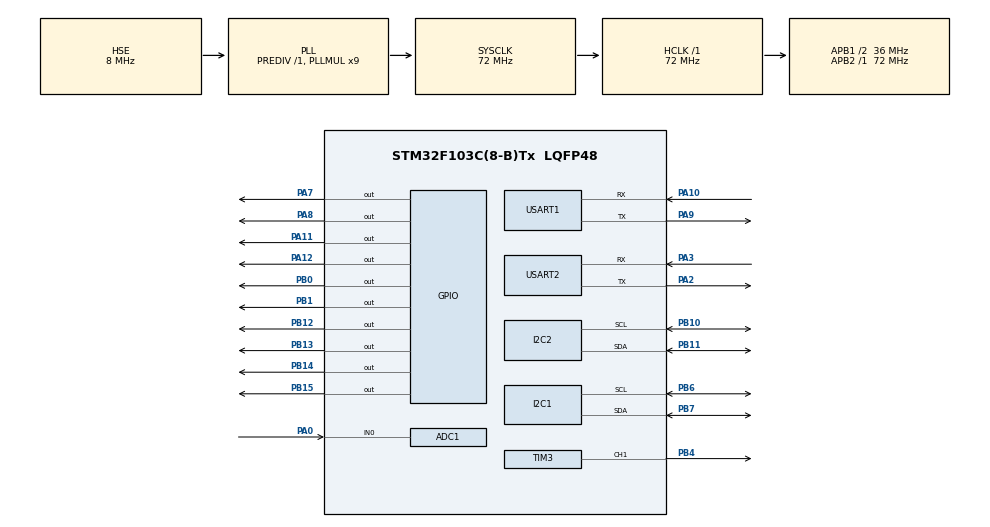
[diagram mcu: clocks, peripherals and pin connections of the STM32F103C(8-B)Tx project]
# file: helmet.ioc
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ADC1.Channel-0\#ChannelRegularConversion=ADC_CHANNEL_0
ADC1.ContinuousConvMode=ENABLE
ADC1.NbrOfConversionFlag=1
ADC1.Rank-0\#ChannelRegularConversion=1
ADC1.SamplingTime-0\#ChannelRegularConversion=ADC_SAMPLETIME_1CYCLE_5
ADC1.master=1
Dma.ADC1.0.Direction=DMA_PERIPH_TO_MEMORY
Dma.ADC1.0.Instance=DMA1_Channel1
Dma.ADC1.0.MemDataAlignment=DMA_MDATAALIGN_WORD
Dma.ADC1.0.MemInc=DMA_MINC_ENABLE
Dma.ADC1.0.Mode=DMA_CIRCULAR
Dma.ADC1.0.PeriphDataAlignment=DMA_PDATAALIGN_WORD
Dma.ADC1.0.PeriphInc=DMA_PINC_DISABLE
Dma.ADC1.0.Priority=DMA_PRIORITY_HIGH
Dma.Request0=ADC1
Dma.Request1=USART2_RX
Dma.USART2_RX.1.Direction=DMA_PERIPH_TO_MEMORY
Dma.USART2_RX.1.Instance=DMA1_Channel6
Dma.USART2_RX.1.MemDataAlignment=DMA_MDATAALIGN_BYTE
Dma.USART2_RX.1.MemInc=DMA_MINC_ENABLE
Dma.USART2_RX.1.Mode=DMA_NORMAL
Dma.USART2_RX.1.PeriphDataAlignment=DMA_PDATAALIGN_BYTE
Dma.USART2_RX.1.PeriphInc=DMA_PINC_DISABLE
Dma.USART2_RX.1.Priority=DMA_PRIORITY_MEDIUM
I2C1.I2C_Mode=I2C_Fast
I2C2.I2C_Mode=I2C_Fast
Mcu.Family=STM32F1
Mcu.Name=STM32F103C(8-B)Tx
Mcu.Package=LQFP48
NVIC.DMA1_Channel1_IRQn=true\:0\:0\:false\:false\:true\:false\:true\:true
NVIC.DMA1_Channel6_IRQn=true\:0\:0\:false\:false\:true\:false\:true\:true
NVIC.PriorityGroup=NVIC_PRIORITYGROUP_4
NVIC.USART2_IRQn=true\:0\:0\:false\:false\:true\:true\:true\:true
PA0-WKUP.Signal=ADCx_IN0
PA10.Mode=Asynchronous
PA10.Signal=USART1_RX
PA11.Signal=GPIO_Output
PA12.Signal=GPIO_Output
PA13.Mode=Serial_Wire
PA13.Signal=SYS_JTMS-SWDIO
PA14.Mode=Serial_Wire
PA14.Signal=SYS_JTCK-SWCLK
PA2.Mode=Asynchronous
PA2.Signal=USART2_TX
PA3.Mode=Asynchronous
PA3.Signal=USART2_RX
PA7.GPIO_Speed=GPIO_SPEED_FREQ_MEDIUM
PA7.Signal=GPIO_Output
PA8.GPIO_Speed=GPIO_SPEED_FREQ_HIGH
PA8.PinState=GPIO_PIN_SET
PA8.Signal=GPIO_Output
PA9.Mode=Asynchronous
PA9.Signal=USART1_TX
PB0.GPIO_Speed=GPIO_SPEED_FREQ_MEDIUM
PB0.Signal=GPIO_Output
PB1.GPIO_Speed=GPIO_SPEED_FREQ_MEDIUM
PB1.Signal=GPIO_Output
PB10.Mode=I2C
PB10.Signal=I2C2_SCL
PB11.Mode=I2C
PB11.Signal=I2C2_SDA
PB12.Signal=GPIO_Output
PB13.Signal=GPIO_Output
PB14.Signal=GPIO_Output
PB15.Signal=GPIO_Output
PB4.Signal=S_TIM3_CH1
PB6.Mode=I2C
PB6.Signal=I2C1_SCL
PB7.Mode=I2C
PB7.Signal=I2C1_SDA
PD0-OSC_IN.Mode=HSE-External-Oscillator
PD0-OSC_IN.Signal=RCC_OSC_IN
PD1-OSC_OUT.Mode=HSE-External-Oscillator
PD1-OSC_OUT.Signal=RCC_OSC_OUT
ProjectManager.HeapSize=0x200
ProjectManager.StackSize=0x400
ProjectManager.TargetToolchain=MDK-ARM V5.32
RCC.ADCPresc=RCC_ADCPCLK2_DIV6
RCC.AHBFreq_Value=72000000
RCC.APB1CLKDivider=RCC_HCLK_DIV2
RCC.APB1Freq_Value=36000000
RCC.APB1TimFreq_Value=72000000
RCC.APB2Freq_Value=72000000
RCC.APB2TimFreq_Value=72000000
RCC.HCLKFreq_Value=72000000
RCC.PLLMUL=RCC_PLL_MUL9
RCC.PLLSourceVirtual=RCC_PLLSOURCE_HSE
RCC.SYSCLKFreq_VALUE=72000000
RCC.SYSCLKSource=RCC_SYSCLKSOURCE_PLLCLK
RCC.USBFreq_Value=72000000
SH.ADCx_IN0.0=ADC1_IN0,IN0
SH.S_TIM3_CH1.0=TIM3_CH1,PWM Generation1 CH1
TIM1.Prescaler=72-1
TIM3.AutoReloadPreload=TIM_AUTORELOAD_PRELOAD_ENABLE
TIM3.Channel-PWM\ Generation1\ CH1=TIM_CHANNEL_1
TIM3.Period=3599
USART1.VirtualMode=VM_ASYNC
USART2.VirtualMode=VM_ASYNC
VP_TIM1_VS_ClockSourceINT.Mode=Internal
VP_TIM3_VS_ClockSourceINT.Mode=Internal
board=custom

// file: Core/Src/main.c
/* USER CODE BEGIN Header */
/**
  ******************************************************************************
  * @file           : main.c
  * @brief          : Main program body
  ******************************************************************************
  * @attention
  *
  * Copyright (c) 2026 STMicroelectronics.
  * All rights reserved.
  *
  * This software is licensed under terms that can be found in the LICENSE file
  * in the root directory of this software component.
  * If no LICENSE file comes with this software, it is provided AS-IS.
  *
  ******************************************************************************
  */
/* USER CODE END Header */
#include "main.h"
#include "adc.h"
#include "dma.h"
#include "i2c.h"
#include "tim.h"
#include "usart.h"
#include "gpio.h"

/* USER CODE BEGIN Includes */
#include "bsp_system.h"                // 包含系统相关的头文件
/* USER CODE END Includes */

void SystemClock_Config(void);

int main(void)
{

  /* MCU Configuration--------------------------------------------------------*/

  /* Reset of all peripherals, Initializes the Flash interface and the Systick. */
  HAL_Init();

  /* Configure the system clock */
  SystemClock_Config();

  /* Initialize all configured peripherals */
  MX_GPIO_Init();
  MX_DMA_Init();
  MX_USART1_UART_Init();
  MX_ADC1_Init();
  MX_TIM1_Init();
  MX_I2C1_Init();
  MX_I2C2_Init();
  MX_USART2_UART_Init();
  MX_TIM3_Init();
  /* USER CODE BEGIN 2 */
  uint8_t init_result;

#if ASRPRO_ENABLE_USART1_DEBUG
  printf("[BOOT] smarthelm app start\r\n");
#endif
  HAL_ADC_Start_DMA(&hadc1, (uint32_t *)&dma_buff[0], 30); // 启动 ADC1 的 DMA 模式，将采集到的 30 个数据存储到 dma_buff 数组中
  rgb_led_init();    // 三色 LED 初始化，默认关闭
#if ASRPRO_ENABLE_USART1_DEBUG
  printf("[RGB] init off\r\n");
#endif
  init_result = pwm_motor_init();       // PWM 电机驱动初始化，默认安全停止
#if ASRPRO_ENABLE_USART1_DEBUG
  printf("[PWM_MOTOR] init=%u\r\n", init_result);
#else
  (void)init_result;
#endif
  init_result = DHT11_Init();       // DHT11 温湿度传感器初始化
#if ASRPRO_ENABLE_USART1_DEBUG
  printf("[DHT11] init=%u\r\n", init_result);
#else
  (void)init_result;
#endif
  mpu6050_init();     // MPU6050 姿态传感器初始化（Mahony）
#if ASRPRO_ENABLE_USART1_DEBUG
  printf("[MPU6050] init=%u\r\n", mpu6050_is_ready());
#endif
  init_result = max30102_init();    // MAX30102 心率血氧传感器初始化
#if ASRPRO_ENABLE_USART1_DEBUG
  printf("[MAX30102] init=%u\r\n", init_result);
#else
  (void)init_result;
#endif
  init_result = st7735_init();      // ST7735 彩色显示屏初始化
#if ASRPRO_ENABLE_USART1_DEBUG
  printf("[ST7735] init=%u\r\n", init_result);
#endif
  if (init_result != 0U)
  {
    Error_Handler();
  }
  lcd_app_init();     // LCD 传感器数据显示页面初始化
  init_result = asrpro_init();   // ASRPro 离线语音模块 USART1 接收初始化
#if ASRPRO_ENABLE_USART1_DEBUG
  printf("[ASRPRO] init=%u\r\n", init_result);
#else
  (void)init_result;
#endif
  m100pg_init();      // M100PG 4G 模块串口接收转发初始化
  scheduler_init();   // 初始化调度器
#if ASRPRO_ENABLE_USART1_DEBUG
  printf("[BOOT] scheduler ready\r\n");
#endif
  /* USER CODE END 2 */

  /* Infinite loop */
  while (1)
  {

    /* USER CODE BEGIN 3 */
    scheduler_run();    // 运行调度器
  }
  /* USER CODE END 3 */
}

void SystemClock_Config(void)
{
  RCC_OscInitTypeDef RCC_OscInitStruct = {0};
  RCC_ClkInitTypeDef RCC_ClkInitStruct = {0};
  RCC_PeriphCLKInitTypeDef PeriphClkInit = {0};

  /** Initializes the RCC Oscillators according to the specified parameters
  * in the RCC_OscInitTypeDef structure.
  */
  RCC_OscInitStruct.OscillatorType = RCC_OSCILLATORTYPE_HSE;
  RCC_OscInitStruct.HSEState = RCC_HSE_ON;
  RCC_OscInitStruct.HSEPredivValue = RCC_HSE_PREDIV_DIV1;
  RCC_OscInitStruct.HSIState = RCC_HSI_ON;
  RCC_OscInitStruct.PLL.PLLState = RCC_PLL_ON;
  RCC_OscInitStruct.PLL.PLLSource = RCC_PLLSOURCE_HSE;
  RCC_OscInitStruct.PLL.PLLMUL = RCC_PLL_MUL9;
  if (HAL_RCC_OscConfig(&RCC_OscInitStruct) != HAL_OK)
  {
    Error_Handler();
  }

  /** Initializes the CPU, AHB and APB buses clocks
  */
  RCC_ClkInitStruct.ClockType = RCC_CLOCKTYPE_HCLK|RCC_CLOCKTYPE_SYSCLK
                              |RCC_CLOCKTYPE_PCLK1|RCC_CLOCKTYPE_PCLK2;
  RCC_ClkInitStruct.SYSCLKSource = RCC_SYSCLKSOURCE_PLLCLK;
  RCC_ClkInitStruct.AHBCLKDivider = RCC_SYSCLK_DIV1;
  RCC_ClkInitStruct.APB1CLKDivider = RCC_HCLK_DIV2;
  RCC_ClkInitStruct.APB2CLKDivider = RCC_HCLK_DIV1;

  if (HAL_RCC_ClockConfig(&RCC_ClkInitStruct, FLASH_LATENCY_2) != HAL_OK)
  {
    Error_Handler();
  }
  PeriphClkInit.PeriphClockSelection = RCC_PERIPHCLK_ADC;
  PeriphClkInit.AdcClockSelection = RCC_ADCPCLK2_DIV6;
  if (HAL_RCCEx_PeriphCLKConfig(&PeriphClkInit) != HAL_OK)
  {
    Error_Handler();
  }
}

void Error_Handler(void)
{
  __disable_irq();
  while (1)
  {
  }
}
